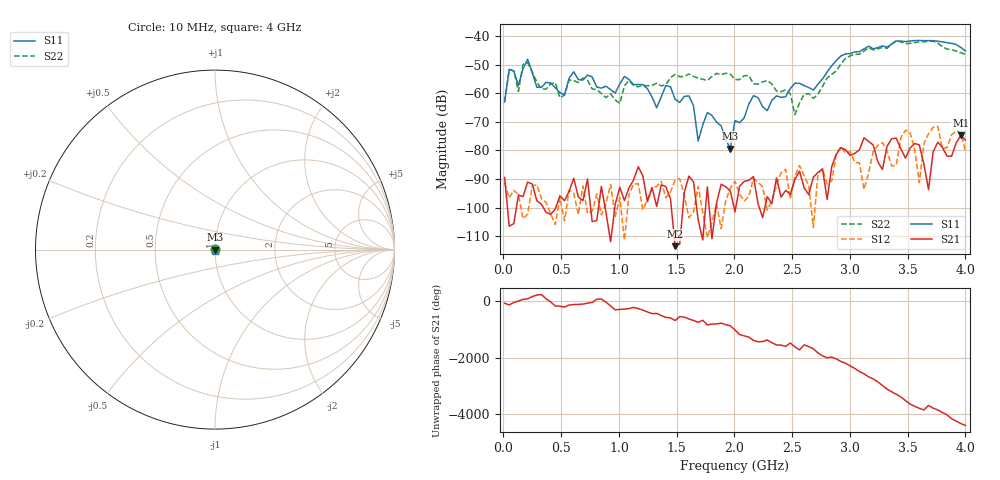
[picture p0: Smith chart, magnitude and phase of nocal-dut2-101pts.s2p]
! PocketVna 1.81  pocketvna.com
! Live measurements ((Reflection-S11, Transmission-S21, Transmission-S12, Reflection-S22) Linear 10000000-4000000000/101 non-calibrated)
# GHz S MA R 50
! GHz  |S11|  <S11  |S21|  <S21  |S12|  <S12  |S22|  <S22
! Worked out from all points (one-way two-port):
!   101 points, 10 MHz to 4 GHz, reference 50 ohm
!   highest |S21| = -74.73 dB at 3.96 GHz (marker M1); lowest = -113.4 dB at 1.486 GHz (marker M2)
!   lowest |S11| = -79.3 dB at 1.965 GHz (marker M3), VSWR 1.00, Z = 50 - j0.0104 ohm
!   |S11| at or under -10 dB: start of sweep to end of sweep
!   |S22| runs from -67.4 to -41.6 dB; largest |S21 - S12| = 0.00019
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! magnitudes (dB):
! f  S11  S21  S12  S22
! 10 MHz  -63.0  -89.4  -91.3  -63.0
! 49.9 MHz  -51.6  -106.4  -96.6  -51.8
! 129.7 MHz  -57.3  -95.5  -95.4  -59.3
! 209.5 MHz  -48.1  -91.0  -102.2  -49.3
! 289.3 MHz  -57.9  -97.6  -91.9  -56.1
! 488.8 MHz  -59.8  -95.8  -96.5  -61.5
! 688.3 MHz  -55.4  -97.5  -92.4  -54.7
! 1.008 GHz  -56.7  -92.8  -96.5  -63.5
! 1.087 GHz  -55.2  -93.1  -95.4  -55.6
! 1.367 GHz  -61.3  -92.0  -90.8  -57.5
! 1.486 GHz  -62.1  -113.4  -90.4  -53.4
! 1.606 GHz  -60.9  -89.0  -103.5  -53.3
! 1.686 GHz  -76.7  -104.2  -92.6  -54.7
! 1.766 GHz  -66.8  -92.7  -110.4  -55.5
! 1.965 GHz  -79.3  -94.2  -93.1  -53.4
! 2.005 GHz  -69.5  -101.5  -90.8  -55.2
! 2.444 GHz  -61.2  -93.9  -86.6  -58.8
! 2.524 GHz  -56.5  -90.1  -89.1  -67.4
! 2.683 GHz  -58.9  -89.3  -106.9  -61.8
! 3.362 GHz  -42.8  -75.9  -85.4  -42.8
! 3.96 GHz  -44.0  -74.7  -73.9  -45.9
! 4 GHz  -45.2  -76.4  -80.1  -46.4
